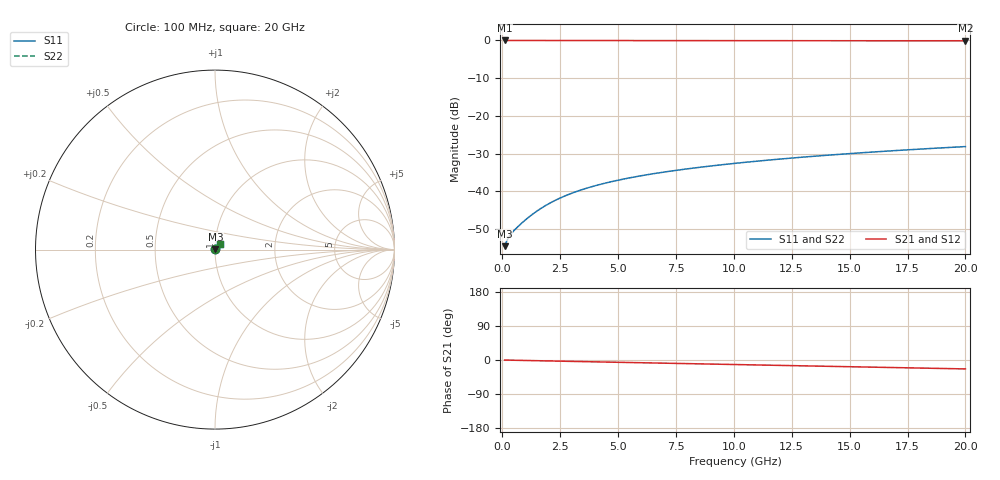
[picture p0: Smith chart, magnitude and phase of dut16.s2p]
! Touchstone file exported from HFSS 2026.1.0
!  File:  C:/ffzhzh/LocalFiles/Ansys_Project_Files/temp_val_BSMRDL_16_1782903292_8056.aedt
!  Generated:  06:56:03 PM Jul  1, 2026
!  Design:  BSMRDL
!  Project:  temp_val_BSMRDL_16_1782903292_8056
! Variables:
!  h_bsmrdl = 5.46um
!  h_ox = 20um
!  h_rdl = 5um
!  h_sub = 80um
!  h_tmrdl = 5um
!  h_tsv = 80um
!  h_via = 3um
!  l_bsmrdl = 420.82um
!  l_sub = 820.82um
!  l_tmrdl = 200um
!  m_sub = 200um
!  pitch = 22.73um
!  r_tsv = 6um
!  s_tmrdl = 10um
!  w_bsmrdl = 16.91um
!  w_sub = 500um
!  w_tmrdl = 12um
!  x_tsv_center1 = 206um
!  x_tsv_center2 = 643.73um
!  x_tsv_center3 = 855.73um
!  x_tsv_center4 = 1293.46um
!  x_tsv_center5 = 1505.46um
!  x_tsv_center6 = 1943.19um
# GHz S MA R 50.000000
! Terminal data exported
! Port[1] = BSM_RDL1_1_T1
! Port[2] = BSM_RDL1_1_T2
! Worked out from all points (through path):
!   200 points, 100 MHz to 20 GHz, reference 50 ohm
!   highest |S21| = -0.02 dB at 100 MHz (marker M1); lowest = -0.1 dB at 20 GHz (marker M2)
!   group delay of S21, straight-line fit = 3.25 ps
!   lowest |S11| = -54.5 dB at 100 MHz (marker M3), VSWR 1.00, Z = 50.2 + j0.0574 ohm
!   |S11| at or under -10 dB: start of sweep to end of sweep
!   |S22| runs from -54.5 to -28.1 dB; largest |S21 - S12| = 3e-15
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0.1  0.001886 17.7  0.9982 -0.1  0.9982 -0.1  0.001886 17.7
! Gamma 0 0 0 0
! Port Impedance 50 0 50 0
0.2  0.002233 26.5  0.998 -0.3  0.998 -0.3  0.002234 26.5
0.3  0.002539 31.2  0.9978 -0.4  0.9978 -0.4  0.00254 31.2
0.4  0.002794 34.6  0.9977 -0.5  0.9977 -0.5  0.002796 34.6
0.5  0.003026 37.7  0.9976 -0.6  0.9976 -0.6  0.003028 37.7
0.9  0.003957 47.8  0.9974 -1.1  0.9974 -1.1  0.003959 47.8
1.2  0.004716 52.8  0.9972 -1.5  0.9972 -1.5  0.004718 52.8
1.4  0.005243 55.2  0.9971 -1.7  0.9971 -1.7  0.005244 55.1
1.8  0.006318 58.3  0.9968 -2.2  0.9968 -2.2  0.006319 58.3
2.3  0.007659 60.3  0.9965 -2.8  0.9965 -2.8  0.00766 60.3
2.9  0.009219 61.3  0.996 -3.6  0.996 -3.6  0.009221 61.3
3.5  0.01071 61.5  0.9956 -4.3  0.9956 -4.3  0.01071 61.4
4.2  0.01234 61.3  0.995 -5.1  0.995 -5.1  0.01234 61.2
4.9  0.01388 60.8  0.9944 -6.0  0.9944 -6.0  0.01389 60.8
5.8  0.01575 60.2  0.9938 -7.0  0.9938 -7.0  0.01575 60.1
6.8  0.0177 59.5  0.9931 -8.2  0.9931 -8.2  0.01772 59.3
8.3  0.02048 58.4  0.9922 -9.9  0.9922 -9.9  0.0205 58.2
10.1  0.02365 57.1  0.9912 -12.0  0.9912 -12.0  0.02367 56.9
11.7  0.02636 55.9  0.9905 -13.9  0.9905 -13.9  0.02639 55.7
13.4  0.02915 54.6  0.9897 -15.9  0.9897 -15.9  0.02919 54.4
16.7  0.03435 51.9  0.9883 -19.7  0.9883 -19.7  0.0344 51.6
20  0.03927 49.0  0.9871 -23.5  0.9871 -23.5  0.03934 48.6
